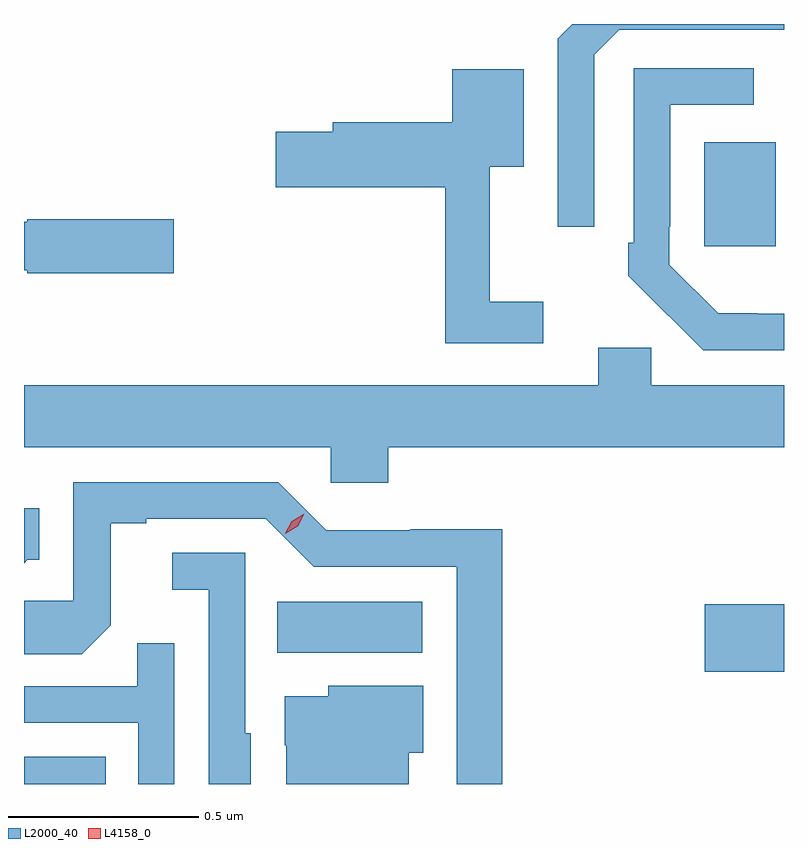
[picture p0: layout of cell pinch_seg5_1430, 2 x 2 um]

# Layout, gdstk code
import gdstk
lib = gdstk.Library(unit=1e-6, precision=1e-09)
def R(c, l, rs):  # rectangles x0, y0, x1, y1
    for r in rs: c.add(gdstk.rectangle(r[:2], r[2:], *l))
def P(c, l, *ps):  # polygons
    for p in ps: c.add(gdstk.Polygon(p, *l))
L2000_40 = (2000, 40)
L4158_0 = (4158, 0)

pinch_seg5_1430 = lib.new_cell('pinch_seg5_1430')
R(pinch_seg5_1430, L2000_40, [(131.595,906.49,131.81,906.562), (133.386,906.785,133.595,906.963), (132.262,906.836,132.643,906.97), (133.385,907.905,133.573,908.179)])
P(pinch_seg5_1430, L2000_40, [(133.095,908.409),(133.161,908.475),(133.595,908.475),(133.595,908.49),(133.038,908.49),(132.999,908.451),(132.999,907.956),(133.095,907.956)],
  [(133.595,907.728),(133.525,907.728),(133.525,907.729),(133.422,907.729),(133.293,907.857),(133.293,907.957),(133.296,907.957),(133.296,908.277),(133.516,908.277),(133.516,908.373),(133.2,908.373),(133.2,907.915),(133.185,907.915),(133.185,907.827),(133.29,907.722),(133.291,907.723),(133.382,907.632),(133.595,907.632)],
  [(132.961,907.759),(132.821,907.759),(132.821,908.114),(132.91,908.114),(132.91,908.371),(132.722,908.371),(132.722,908.232),(132.407,908.232),(132.407,908.207),(132.258,908.207),(132.258,908.06),(132.703,908.06),(132.703,907.65),(132.961,907.65)],
  [(131.989,907.976),(131.604,907.976),(131.604,907.97),(131.595,907.97),(131.595,907.842),(131.604,907.842),(131.604,907.834),(131.989,907.834)],
  [(132.554,907.376),(133.595,907.376),(133.595,907.54),(133.245,907.54),(133.245,907.638),(133.106,907.638),(133.106,907.54),(131.595,907.54),(131.595,907.376),(132.402,907.376),(132.402,907.283),(132.554,907.283)],
  [(132.853,907.16),(132.612,907.16),(132.612,907.158),(132.39,907.158),(132.264,907.284),(131.724,907.284),(131.724,906.972),(131.595,906.972),(131.595,906.832),(131.747,906.832),(131.823,906.908),(131.823,907.176),(131.917,907.176),(131.917,907.188),(132.231,907.188),(132.357,907.062),(132.734,907.062),(132.734,906.49),(132.853,906.49)],
  [(131.604,907.08),(131.635,907.08),(131.635,907.216),(131.595,907.216),(131.595,907.071)],
  [(132.192,906.624),(132.177,906.624),(132.177,907.098),(131.985,907.098),(131.985,907.001),(132.081,907.001),(132.081,906.49),(132.192,906.49)],
  [(131.991,906.86),(131.893,906.86),(131.893,906.747),(131.595,906.747),(131.595,906.651),(131.895,906.651),(131.895,906.49),(131.991,906.49)],
  [(132.607,906.572),(132.646,906.572),(132.646,906.748),(132.396,906.748),(132.396,906.721),(132.281,906.721),(132.281,906.592),(132.285,906.592),(132.285,906.49),(132.607,906.49)])
P(pinch_seg5_1430, L4158_0, [(132.283,907.149),(132.283,907.15),(132.3,907.182),(132.332,907.201),(132.332,907.201),(132.332,907.201),(132.315,907.168),(132.283,907.149)])

lib.write_gds('pinch_seg5_1430.gds')
